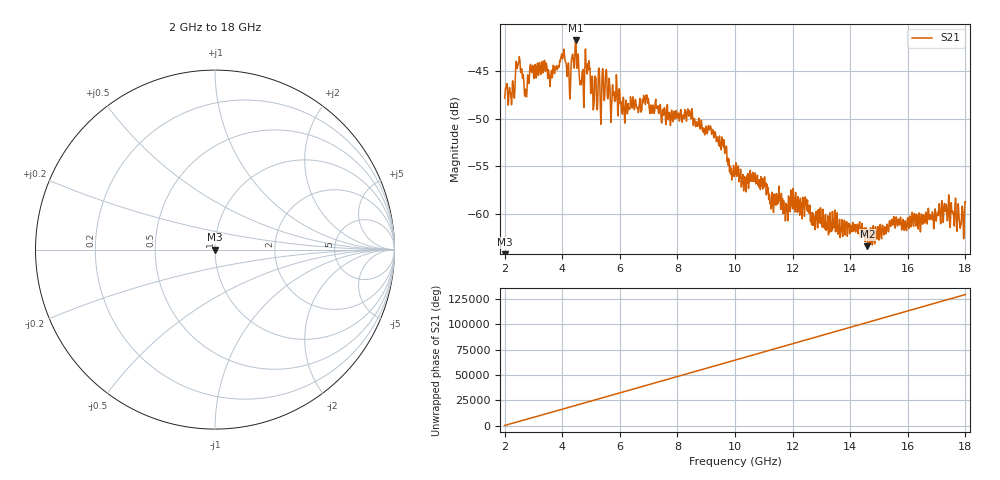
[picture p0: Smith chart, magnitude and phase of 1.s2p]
!Keysight Technologies,N5224B,MY58422322,A.13.80.08
!Date: Monday, July 11, 2022 14:54:08
!Correction: S11(Off)
!S21(Off)
!S12(Off)
!S22(Off)
!S2P File: Measurements: S11, S21, S12, S22:
# Hz S  RI  R 50
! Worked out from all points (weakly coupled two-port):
!   1601 points, 2 GHz to 18 GHz, reference 50 ohm
!   highest |S21| = -41.77 dB at 4.47 GHz (marker M1); lowest = -63.4 dB at 14.6 GHz (marker M2)
!   lowest |S11| = - dB at 2 GHz (marker M3), VSWR 1.00, Z = 50 + j7.07e-09 ohm
!   |S11| at or under -10 dB: start of sweep to end of sweep
!   S12 and S22 are empty: the file has one direction only
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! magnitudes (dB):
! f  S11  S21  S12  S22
! 2 GHz  -  -47.8  -  -
! 2.28 GHz  -  -46.0  -  -
! 2.47 GHz  -  -44.2  -  -
! 2.76 GHz  -  -47.7  -  -
! 2.93 GHz  -  -45.1  -  -
! 3.58 GHz  -  -46.6  -  -
! 4.01 GHz  -  -43.7  -  -
! 4.23 GHz  -  -44.9  -  -
! 4.47 GHz  -  -41.8  -  -
! 4.67 GHz  -  -46.2  -  -
! 4.87 GHz  -  -45.3  -  -
! 5.15 GHz  -  -46.0  -  -
! 5.4 GHz  -  -44.7  -  -
! 5.47 GHz  -  -47.9  -  -
! 6.12 GHz  -  -47.7  -  -
! 7.34 GHz  -  -49.2  -  -
! 9.15 GHz  -  -50.8  -  -
! 10 GHz  -  -55.5  -  -
! 12.67 GHz  -  -60.4  -  -
! 14.6 GHz  -  -63.4  -  -
! 15.34 GHz  -  -61.7  -  -
! 18 GHz  -  -58.7  -  -
